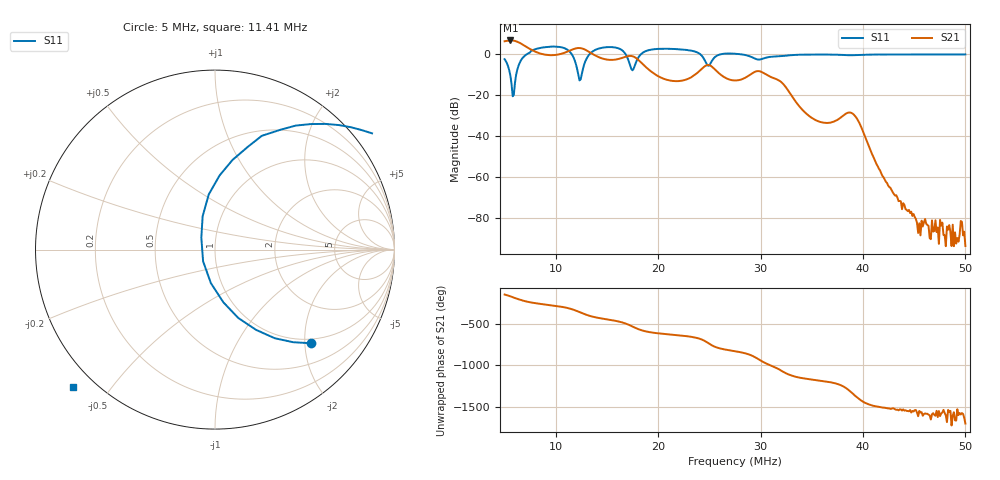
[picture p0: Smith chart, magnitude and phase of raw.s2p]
! S11/S21 only; reverse parameters are placeholders. Device calibration unverified.
! NanoVNA F V2 profile | COM3 | 2026-09-08T12:09:45.6994733-04:00 | device calibration unverified
# HZ S RI R 50
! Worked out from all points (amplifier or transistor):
!   401 points, 5 MHz to 50 MHz, reference 50 ohm
!   highest |S21| = 6.6 dB at 5.562 MHz (marker M1)
!   |S21| within 3 dB of that: start of sweep to 7.081 MHz
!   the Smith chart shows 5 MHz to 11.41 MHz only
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5000000  0.5364 -0.5218  -1.788 -1  0 0  0 0
5562500  0.0466 -0.2936  -2.125 -0.294  0 0  0 0
6462500  0.1826 0.5724  -1.599 0.9834  0 0  0 0
7250000  0.7561 0.6821  -0.7646 1.209  0 0  0 0
7812500  0.6316 -1.093  -0.3961 1.132  0 0  0 0
9950000  -0.1182 -1.511  0.2618 0.9102  0 0  0 0
1.1525e7  -0.7919 -0.6346  1.031 0.7232  0 0  0 0
1.25375e7  0.2256 0.2293  1.34 -0.2989  0 0  0 0
1.3775e7  1.078 -0.595  0.4529 -0.8279  0 0  0 0
1.56875e7  0.5101 -1.367  -0.1635 -0.7052  0 0  0 0
1.6475e7  -0.1567 -1.224  -0.4607 -0.6602  0 0  0 0
1.715e7  -0.5712 -0.2807  -0.8115 -0.3815  0 0  0 0
1.79375e7  0.4635 0.5514  -0.7171 0.2581  0 0  0 0
2.0075e7  1.288 -0.3558  -0.0629 0.273  0 0  0 0
2.46875e7  0.3871 -0.4485  0.5252 0.0213  0 0  0 0
2.75e7  0.8902 -0.4905  -0.0797 -0.2118  0 0  0 0
3.16625e7  0.7459 -0.4537  0.1785 0.1524  0 0  0 0
3.50375e7  0.7022 -0.6667  -0.000471 -0.0272  0 0  0 0
3.90875e7  0.5463 -0.7622  -0.000947 0.0334  0 0  0 0
4.2575e7  0.4453 -0.8695  0.000131 -0.000548  0 0  0 0
4.5275e7  0.3401 -0.9174  -4.5e-05 -6e-05  0 0  0 0
5e7  0.1598 -0.9632  -4e-06 2e-05  0 0  0 0
